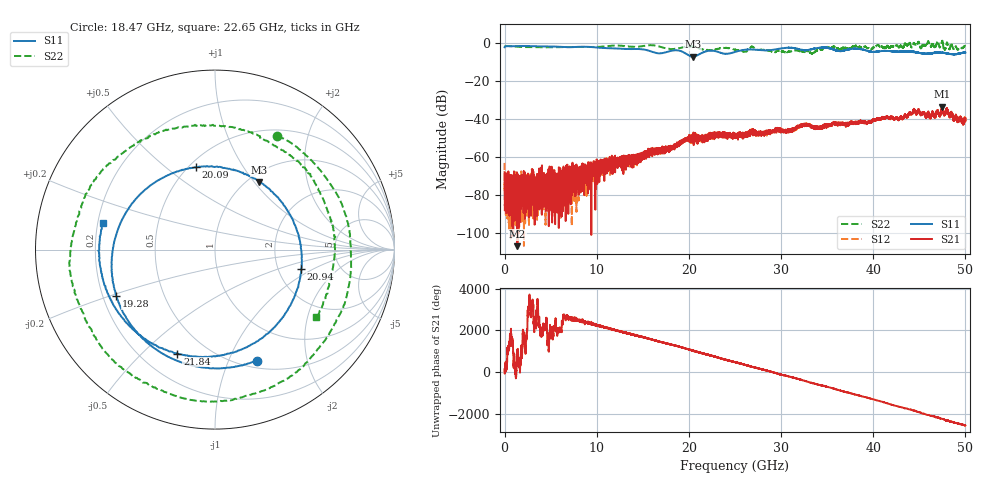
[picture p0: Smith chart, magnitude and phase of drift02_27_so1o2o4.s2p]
!Created with skrf (http://scikit-rf.org).
# Hz S RI R 50.0
!freq ReS11 ImS11 ReS21 ImS21 ReS12 ImS12 ReS22 ImS22
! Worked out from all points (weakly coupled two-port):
!   10001 points, 300 kHz to 50 GHz, reference 50 ohm
!   highest |S21| = -33.41 dB at 47.47 GHz (marker M1); lowest = -107.1 dB at 1.385 GHz (marker M2)
!   lowest |S11| = -6.9 dB at 20.42 GHz (marker M3), VSWR 2.63, Z = 56.3 + j53 ohm
!   |S11| at or under -10 dB: nowhere
!   |S22| runs from -5.4 to 1.6 dB; largest |S21 - S12| = 0.0035
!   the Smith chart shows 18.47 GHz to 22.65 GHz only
!   S11 on the Smith chart (normalised r, x): 18.47 GHz: 0.58, -1.27; 19.28 GHz: 0.25, -0.21; 20.09 GHz: 0.54, +0.64; 20.94 GHz: 2.69, -0.75; 21.84 GHz: 0.34, -0.64; 22.65 GHz: 0.22, +0.11
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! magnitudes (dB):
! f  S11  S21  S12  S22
! 300 kHz  -2.1  -68.0  -63.1  -1.3
! 255.3 MHz  -1.4  -77.8  -74.6  -1.4
! 1.385 GHz  -1.4  -107.1  -73.4  -1.7
! 3.45 GHz  -1.5  -76.4  -76.9  -2.0
! 3.965 GHz  -1.6  -68.9  -71.1  -2.0
! 8.335 GHz  -1.7  -70.6  -71.6  -1.9
! 16.67 GHz  -5.2  -55.3  -56.1  -1.5
! 18.47 GHz  -3.6  -55.4  -55.5  -2.8
! 19.28 GHz  -4.3  -51.7  -52.3  -2.1
! 20.09 GHz  -6.5  -49.2  -50.4  -1.5
! 20.42 GHz  -6.9  -50.1  -49.7  -1.8
! 20.94 GHz  -6.2  -51.2  -49.9  -2.2
! 21.84 GHz  -4.2  -49.2  -50.2  -3.5
! 22.65 GHz  -3.9  -47.1  -49.0  -3.4
! 25 GHz  -4.5  -48.7  -49.1  -3.2
! 26.11 GHz  -3.3  -48.0  -49.1  -4.3
! 26.9 GHz  -3.2  -45.5  -46.1  -1.7
! 33.34 GHz  -3.0  -43.9  -43.8  -5.2
! 34.89 GHz  -2.2  -44.1  -43.4  -2.3
! 41.67 GHz  -4.0  -39.4  -39.1  -2.0
! 47.47 GHz  -4.8  -33.4  -34.1  1.2
! 50 GHz  -4.8  -39.4  -41.6  -1.5
